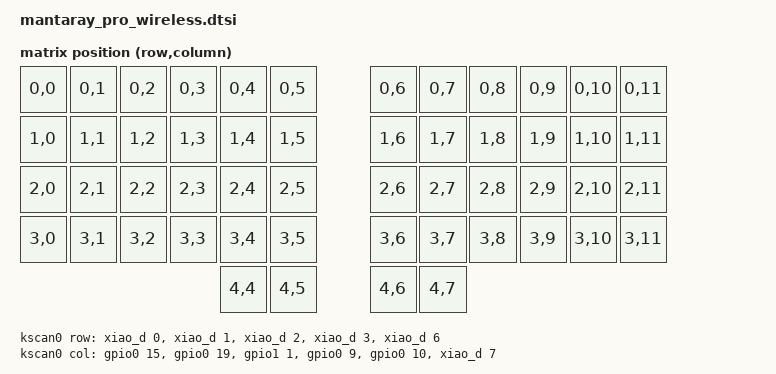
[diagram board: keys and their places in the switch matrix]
/*
 * Copyright (c) 2025 Colton Hawkins
 *
 * SPDX-License-Identifier: MIT
 */

#include <dt-bindings/zmk/matrix_transform.h>
#include "mantaray_pro_wireless-layouts.dtsi"
#include <dt-bindings/pinctrl/nrf-pinctrl.h>

/* Pin Control for custom nice!view SPI pins */
&pinctrl {
    spi1_default: spi1_default {
        group1 {
            // MOSI = D10 -> P1.15, SCK  = D8 -> P1.13
            psels = <NRF_PSEL(SPIM_MOSI, 1, 15)>,
                    <NRF_PSEL(SPIM_SCK, 1, 13)>;
        };
    };
    spi1_sleep: spi1_sleep {
        group1 {
            psels = <NRF_PSEL(SPIM_MOSI, 1, 15)>,
                    <NRF_PSEL(SPIM_SCK, 1, 13)>;
            low-power-enable;
        };
    };
};

/*
 * SPI peripheral configuration for the nice!view.
 * The label 'nice_view_spi' MUST be applied directly to the bus itself.
 */
nice_view_spi: &spi1 {
    compatible = "nordic,nrf-spim";
    status = "okay";

    /* Apply the custom pin control configuration defined in &pinctrl */
    pinctrl-0 = <&spi1_default>;
    pinctrl-1 = <&spi1_sleep>;
    pinctrl-names = "default", "sleep";

    /* CS = D9 */
    cs-gpios = <&xiao_d 9 GPIO_ACTIVE_HIGH>;
};

/ {
    chosen {
        zmk,kscan = &kscan0;
        zmk,physical-layout = &physical_layout0;
    };

    default_transform: keymap_transform0 {
        compatible = "zmk,matrix-transform";
        columns = <12>;
        rows = <5>;
        map = <
            RC(0,0) RC(0,1) RC(0,2) RC(0,3) RC(0,4) RC(0,5)    RC(0,6) RC(0,7) RC(0,8) RC(0,9) RC(0,10) RC(0,11)
            RC(1,0) RC(1,1) RC(1,2) RC(1,3) RC(1,4) RC(1,5)    RC(1,6) RC(1,7) RC(1,8) RC(1,9) RC(1,10) RC(1,11)
            RC(2,0) RC(2,1) RC(2,2) RC(2,3) RC(2,4) RC(2,5)    RC(2,6) RC(2,7) RC(2,8) RC(2,9) RC(2,10) RC(2,11)
            RC(3,0) RC(3,1) RC(3,2) RC(3,3) RC(3,4) RC(3,5)    RC(3,6) RC(3,7) RC(3,8) RC(3,9) RC(3,10) RC(3,11)
                                            RC(4,4) RC(4,5)    RC(4,6) RC(4,7)
        >;
    };

    kscan0: kscan_0 {
        compatible = "zmk,kscan-gpio-matrix";
        label = "KSCAN";
        wakeup-source;
        diode-direction = "col2row";
        row-gpios
            = <&xiao_d 0 (GPIO_ACTIVE_HIGH | GPIO_PULL_DOWN)>
            , <&xiao_d 1 (GPIO_ACTIVE_HIGH | GPIO_PULL_DOWN)>
            , <&xiao_d 2 (GPIO_ACTIVE_HIGH | GPIO_PULL_DOWN)>
            , <&xiao_d 3 (GPIO_ACTIVE_HIGH | GPIO_PULL_DOWN)>
            , <&xiao_d 6 (GPIO_ACTIVE_HIGH | GPIO_PULL_DOWN)>
            ;
        col-gpios
            = <&gpio0 15 GPIO_ACTIVE_HIGH> // D11
            , <&gpio0 19 GPIO_ACTIVE_HIGH> // D12
            , <&gpio1 1 GPIO_ACTIVE_HIGH> //D13
            , <&gpio0 9 GPIO_ACTIVE_HIGH> // D14
            , <&gpio0 10 GPIO_ACTIVE_HIGH> // D15
            , <&xiao_d 7 GPIO_ACTIVE_HIGH>
            ;
    };

};
